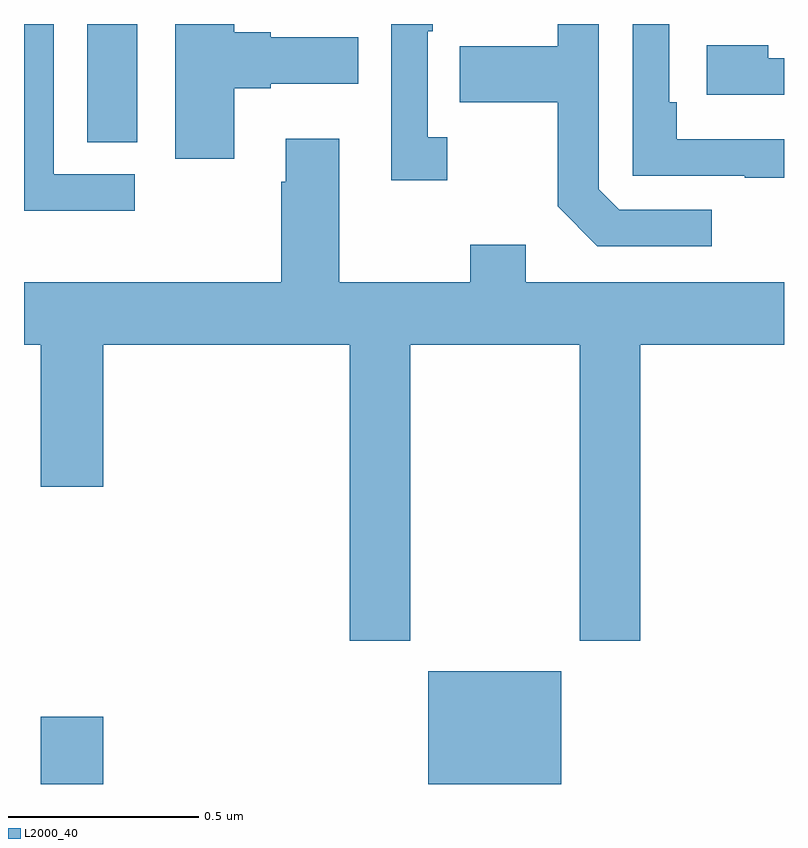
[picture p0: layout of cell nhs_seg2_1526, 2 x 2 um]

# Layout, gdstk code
import gdstk
lib = gdstk.Library(unit=1e-6, precision=1e-09)
def R(c, l, rs):  # rectangles x0, y0, x1, y1
    for r in rs: c.add(gdstk.rectangle(r[:2], r[2:], *l))
def P(c, l, *ps):  # polygons
    for p in ps: c.add(gdstk.Polygon(p, *l))
L2000_40 = (2000, 40)

nhs_seg2_1526 = lib.new_cell('nhs_seg2_1526')
R(nhs_seg2_1526, L2000_40, [(129.044,659.8,129.208,659.977), (130.064,659.8,130.414,660.097), (129.167,661.489,129.298,661.8)])
P(nhs_seg2_1526, L2000_40, [(130.81,661.311),(130.566,661.311),(130.512,661.365),(130.512,661.8),(130.404,661.8),(130.404,661.741),(130.147,661.741),(130.147,661.594),(130.404,661.594),(130.404,661.321),(130.509,661.215),(130.81,661.215)],
  [(129.292,661.404),(129.078,661.404),(129.078,661.8),(129,661.8),(129,661.308),(129.292,661.308)],
  [(131,661.497),(130.718,661.497),(130.718,661.594),(130.698,661.594),(130.698,661.8),(130.602,661.8),(130.602,661.401),(130.897,661.401),(130.897,661.396),(131,661.396)],
  [(129.553,661.631),(129.649,661.631),(129.649,661.643),(129.88,661.643),(129.88,661.765),(129.649,661.765),(129.649,661.778),(129.553,661.778),(129.553,661.8),(129.398,661.8),(129.398,661.446),(129.553,661.446)],
  [(130.114,661.502),(130.062,661.502),(130.062,661.781),(130.075,661.781),(130.075,661.8),(129.966,661.8),(129.966,661.389),(130.114,661.389)],
  [(131,661.71),(130.958,661.71),(130.958,661.744),(130.797,661.744),(130.797,661.614),(131,661.614)],
  [(130.017,660.956),(130.462,660.956),(130.462,660.177),(130.622,660.177),(130.622,660.956),(131,660.956),(131,661.12),(130.321,661.12),(130.321,661.219),(130.174,661.219),(130.174,661.12),(129.829,661.12),(129.829,661.498),(129.689,661.498),(129.689,661.385),(129.677,661.385),(129.677,661.12),(129,661.12),(129,660.956),(129.044,660.956),(129.044,660.582),(129.208,660.582),(129.208,660.956),(129.857,660.956),(129.857,660.177),(130.017,660.177)])

lib.write_gds('nhs_seg2_1526.gds')
